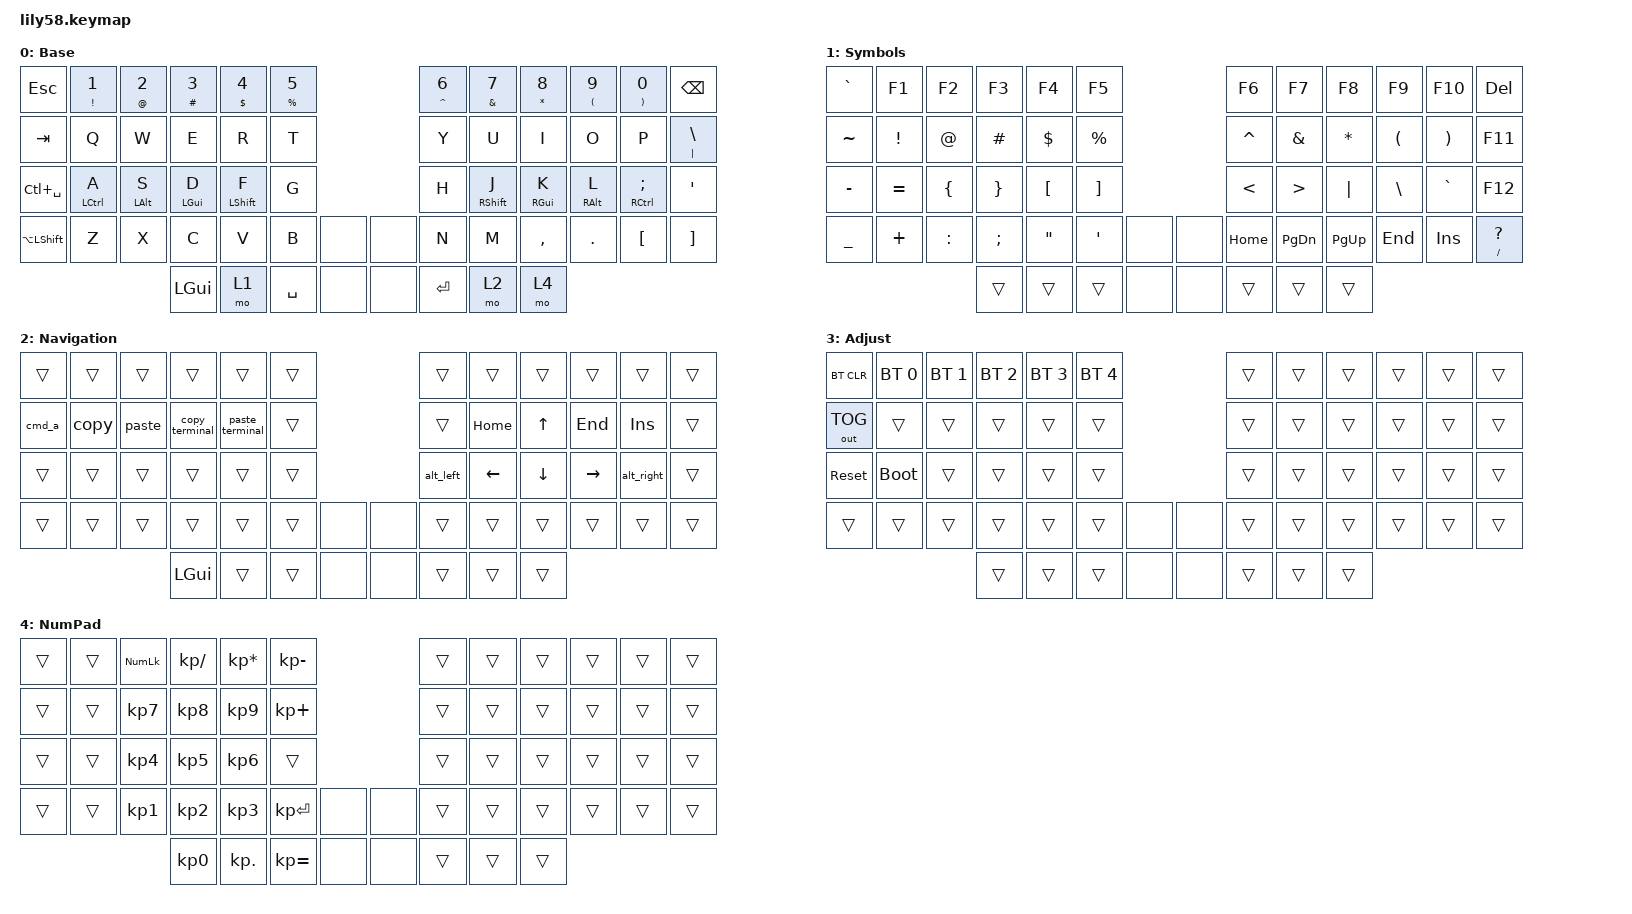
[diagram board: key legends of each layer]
/*
 * ZMK keymap — Lily58 (54 keys used out of 58 matrix positions)
 * Behaviors: homerow mods (hm), hold-tap number row (num_sym)
 * Layers: base(0), symbols(1), nav(2), adjust(3, via tri-layer 1+2), numpad(4)
 */

#include <behaviors.dtsi>
#include <dt-bindings/zmk/keys.h>
#include <dt-bindings/zmk/bt.h>
#include <dt-bindings/zmk/outputs.h>

/ {
    behaviors {

        hm: homerow_mods {
            compatible = "zmk,behavior-hold-tap";
            #binding-cells = <2>;
            tapping-term-ms = <180>;
            flavor = "balanced";
            bindings = <&kp>, <&kp>;
        };

        num_sym: number_symbol {
            compatible = "zmk,behavior-hold-tap";
            #binding-cells = <2>;
            tapping-term-ms = <200>;
            flavor = "tap-preferred";
            bindings = <&kp>, <&kp>;
        };

    };


    macros {

        copy: copy {
            compatible = "zmk,behavior-macro";
            #binding-cells = <0>;
            bindings =
                <&macro_press &kp LGUI>,
                <&macro_tap &kp C>,
                <&macro_release &kp LGUI>;
        };

        paste: paste {
            compatible = "zmk,behavior-macro";
            #binding-cells = <0>;
            bindings =
                <&macro_press &kp LGUI>,
                <&macro_tap &kp V>,
                <&macro_release &kp LGUI>;
        };

        copy_terminal: copy_terminal {
            compatible = "zmk,behavior-macro";
            #binding-cells = <0>;
            bindings =
                <&macro_press &kp LCTRL>,
                <&macro_press &kp LSHIFT>,
                <&macro_tap &kp C>,
                <&macro_release &kp LSHIFT>,
                <&macro_release &kp LCTRL>;
        };

        paste_terminal: paste_terminal {
            compatible = "zmk,behavior-macro";
            #binding-cells = <0>;
            bindings =
                <&macro_press &kp LCTRL>,
                <&macro_press &kp LSHIFT>,
                <&macro_tap &kp V>,
                <&macro_release &kp LSHIFT>,
                <&macro_release &kp LCTRL>;
        };

        cmd_l: cmd_l {
            compatible = "zmk,behavior-macro";
            #binding-cells = <0>;
            bindings =
                <&macro_press &kp LGUI>,
                <&macro_tap &kp L>,
                <&macro_release &kp LGUI>;
        };

        cmd_r: cmd_r {
            compatible = "zmk,behavior-macro";
            #binding-cells = <0>;
            bindings =
                <&macro_press &kp LGUI>,
                <&macro_tap &kp R>,
                <&macro_release &kp LGUI>;
        };

        cmd_d: cmd_d {
            compatible = "zmk,behavior-macro";
            #binding-cells = <0>;
            bindings =
                <&macro_press &kp LGUI>,
                <&macro_tap &kp D>,
                <&macro_release &kp LGUI>;
        };

        cmd_a: cmd_a {
            compatible = "zmk,behavior-macro";
            #binding-cells = <0>;
            bindings =
                <&macro_press &kp LGUI>,
                <&macro_tap &kp A>,
                <&macro_release &kp LGUI>;
        };

        cmd_e: cmd_e {
            compatible = "zmk,behavior-macro";
            #binding-cells = <0>;
            bindings =
                <&macro_press &kp LGUI>,
                <&macro_tap &kp E>,
                <&macro_release &kp LGUI>;
        };

        alt_left: alt_left {
            compatible = "zmk,behavior-macro";
            #binding-cells = <0>;
            bindings =
                <&macro_press &kp LALT>,
                <&macro_tap &kp LEFT>,
                <&macro_release &kp LALT>;
        };

        alt_right: alt_right {
            compatible = "zmk,behavior-macro";
            #binding-cells = <0>;
            bindings =
                <&macro_press &kp LALT>,
                <&macro_tap &kp RIGHT>,
                <&macro_release &kp LALT>;
        };

    };


    keymap {

        compatible = "zmk,keymap";


        base_layer {
            // ------------------------------------------------------------------------------------------------------------
            // |  ESC  |  1/!  |  2/@ |  3/#  |  4/$  |  5/%  |                   |  6/^  |  7/&  |  8/*  |  9/( |  0/)  | BSPC |
            // |  TAB  |   Q   |   W  |   E   |   R   |   T   |                   |   Y   |   U   |   I   |  O   |   P   | \/|  |
            // |Mac Lan|A/Ctrl |S/Alt |D/Gui  |F/Shift|   G   |                   |   H   |J/Shift|K/Gui  |L/Alt |;/Ctrl | '    |
            // |Lin Lan|   Z   |   X  |   C   |   V   |   B   |  n/a   |  |  n/a  |   N   |   M   |   ,   |   .  |   [   |  ]   |
            //                        |  ALT  |  SYM  | SPACE |  n/a   |  |  n/a  | ENTER |  NAV  |  NUM  |
            // Note: hold digit -> shifted symbol (e.g. hold 1 -> "!", tap 1 -> "1")

            display-name = "Base";
            bindings = <
&kp ESC            &num_sym EXCL N1  &num_sym AT N2  &num_sym HASH N3  &num_sym DLLR N4   &num_sym PRCNT N5                          &num_sym CARET N6  &num_sym AMPS N7  &num_sym STAR N8  &num_sym LPAR N9  &num_sym RPAR N0    &kp BSPC
&kp TAB            &kp Q             &kp W           &kp E             &kp R              &kp T                                      &kp Y              &kp U             &kp I             &kp O             &kp P               &num_sym PIPE BSLH
&kp LC(SPACE)      &hm LCTRL A       &hm LALT S      &hm LGUI D        &hm LSHIFT F       &kp G                                      &kp H              &hm RSHIFT J      &hm RGUI K        &hm RALT L        &hm RCTRL SEMI      &kp SQT
&kp LA(LSHIFT)     &kp Z             &kp X           &kp C             &kp V              &kp B       &none                  &none   &kp N              &kp M             &kp COMMA         &kp DOT           &kp LBKT            &kp RBKT
                                                     &kp LGUI          &mo 1              &kp SPACE   &none                  &none   &kp ENTER          &mo 2             &mo 4
            >;
        };


        symbols_layer {
            // ------------------------------------------------------------------------------------------------------------
            // |   `   |  F1  |  F2  |  F3   |  F4   |  F5   |                   |  F6   |  F7   |  F8   |  F9  |  F10  | DEL  |                 
            // |   ~   |  !   |  @   |  #    |  $    |  %    |                   |  ^    |  &    |  *    |  (   |  )    | F11  |
            // |   -   |  =   |  {   |  }    |  [    |  ]    |                   |  <    |  >    |  |    |  \   |  `    | F12  |
            // |   _   |  +   |  :   |  ;    |  "    |  '    |  n/a   |  |  n/a  | HOME  | PGDN  | PGUP  | END  | INS   | ?//  |
            //                       |  ---  |  ---  |  ---  |  n/a   |  |  n/a  |  ---  |  ---  |  ---  |

            display-name = "Symbols";
            bindings = <
&kp GRAVE      &kp F1        &kp F2        &kp F3        &kp F4        &kp F5                              &kp F6         &kp F7      &kp F8      &kp F9       &kp F10      &kp DEL
&kp TILDE      &kp EXCL      &kp AT        &kp HASH      &kp DLLR      &kp PRCNT                           &kp CARET      &kp AMPS    &kp STAR    &kp LPAR     &kp RPAR     &kp F11
&kp MINUS      &kp EQUAL     &kp LBRC      &kp RBRC      &kp LBKT      &kp RBKT                            &kp LT         &kp GT      &kp PIPE    &kp BSLH     &kp GRAVE    &kp F12
&kp UNDER      &kp PLUS      &kp COLON     &kp SEMI      &kp DQT       &kp SQT    &none            &none   &kp HOME       &kp PG_DN   &kp PG_UP   &kp END      &kp INS      &num_sym FSLH QMARK
                                           &trans        &trans        &trans     &none            &none   &trans         &trans      &trans
            >;
        };


        nav_layer {
            // ------------------------------------------------------------------------------------------------------------
            // |  ---  | ---  | ---  |  ---  |  ---  |  ---  |                   |  ---  |  ---  |  ---  | ---  |  ---  | ---  |
            // | CMD A | COPY |PASTE |COPY_T |PASTE_T|  ---  |                   |  ---  | HOME  |  UP   | END  |  INS  | ---  |
            // |  ---  | ---  | ---  |  ---  |  ---  |  ---  |                   | ALT<- | LEFT  | DOWN  | RIGHT|  ALT->| ---  |
            // |  ---  | ---  | ---  |  ---  |  ---  |  ---  |  n/a   |  |  n/a  |  ---  |  ---  |  ---  | ---  |  ---  | ---  |
            //                       |  ---  |  ---  |  ---  |  n/a   |  |  n/a  |  ---  |  ---  |  ---  |

            display-name = "Navigation";
            bindings = <
&trans         &trans        &trans        &trans          &trans           &trans                     &trans         &trans      &trans      &trans       &trans       &trans
&cmd_a         &copy         &paste        &copy_terminal  &paste_terminal  &trans                     &trans         &kp HOME    &kp UP      &kp END      &kp INS      &trans
&trans         &trans        &trans        &trans          &trans           &trans                     &alt_left      &kp LEFT    &kp DOWN    &kp RIGHT    &alt_right   &trans
&trans         &trans        &trans        &trans          &trans           &trans   &none     &none   &trans         &trans      &trans      &trans       &trans       &trans
                                           &kp LGUI        &trans           &trans   &none     &none   &trans         &trans      &trans
            >;
        };


        adjust_layer {
            // ------------------------------------------------------------------------------------------------------------
            // |BT_CLR |BT_SEL0|BT_SEL1|BT_SEL2|BT_SEL3|BT_SEL4|                  |  ---  | ---   |  ---  | ---  |  ---  | ---  |
            // |OUT_TOG| ---  |  ---  |  ---  |  ---  |  ---  |                   |  ---  |  ---  |  ---  | ---  |  ---  | ---  |
            // |RESET  | BOOT |  ---  |  ---  |  ---  |  ---  |                   |  ---  |  ---  |  ---  | ---  |  ---  | ---  |
            // |  ---  | ---  |  ---  |  ---  |  ---  |  ---  |  n/a   |  |  n/a  |  ---  |  ---  |  ---  | ---  |  ---  | ---  |
            //                        |  ---  |  ---  |  ---  |  n/a   |  |  n/a  |  ---  |  ---  |  ---  |
            // Reached via tri-layer: hold layers 1(Symbols)+2(Nav) together

            display-name = "Adjust";
            bindings = <
&bt BT_CLR     &bt BT_SEL 0  &bt BT_SEL 1  &bt BT_SEL 2  &bt BT_SEL 3  &bt BT_SEL 4                        &trans         &trans      &trans      &trans       &trans       &trans
&out OUT_TOG   &trans        &trans        &trans        &trans        &trans                              &trans         &trans      &trans      &trans       &trans       &trans
&sys_reset     &bootloader   &trans        &trans        &trans        &trans                              &trans         &trans      &trans      &trans       &trans       &trans
&trans         &trans        &trans        &trans        &trans        &trans     &none            &none   &trans         &trans      &trans      &trans       &trans       &trans
                                           &trans        &trans        &trans     &none            &none   &trans         &trans      &trans
            >;
        };


        numpad_layer {
            // ------------------------------------------------------------------------------------------------------------
            // |  ---  |  --- |  NUM |  /    |  *    |   -   |                   |  ---  |  ---  |  ---  | ---  |  ---  | ---  |
            // |  ---  |  --- |  7   |  8    |  9    |   +   |                   |  ---  |  ---  |  ---  | ---  |  ---  | ---  |
            // |  ---  |  --- |  4   |  5    |  6    |  ---  |                   |  ---  |  ---  |  ---  | ---  |  ---  | ---  |
            // |  ---  |  --- |  1   |  2    |  3    | ENTER |  n/a   |  |  n/a  |  ---  |  ---  |  ---  | ---  |  ---  | ---  |
            //                       |  0    |  .    |  =    |  n/a   |  |  n/a  |  ---  |  ---  |  ---  |

            display-name = "NumPad";
            bindings = <
&trans         &trans        &kp KP_NUM      &kp KP_DIVIDE  &kp KP_MULTIPLY  &kp KP_SUBTRACT                   &trans       &trans      &trans      &trans       &trans       &trans
&trans         &trans        &kp KP_N7       &kp KP_N8      &kp KP_N9        &kp KP_PLUS                       &trans       &trans      &trans      &trans       &trans       &trans
&trans         &trans        &kp KP_N4       &kp KP_N5      &kp KP_N6        &trans                            &trans       &trans      &trans      &trans       &trans       &trans
&trans         &trans        &kp KP_N1       &kp KP_N2      &kp KP_N3        &kp KP_ENTER   &none      &none   &trans       &trans      &trans      &trans       &trans       &trans
                                             &kp KP_N0      &kp KP_DOT       &kp KP_EQUAL   &none      &none   &trans       &trans      &trans
            >;
        };

    };


    conditional_layers {

        compatible = "zmk,conditional-layers";

        tri_layer {

            if-layers = <1 2>;
            then-layer = <3>;

        };

    };

};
